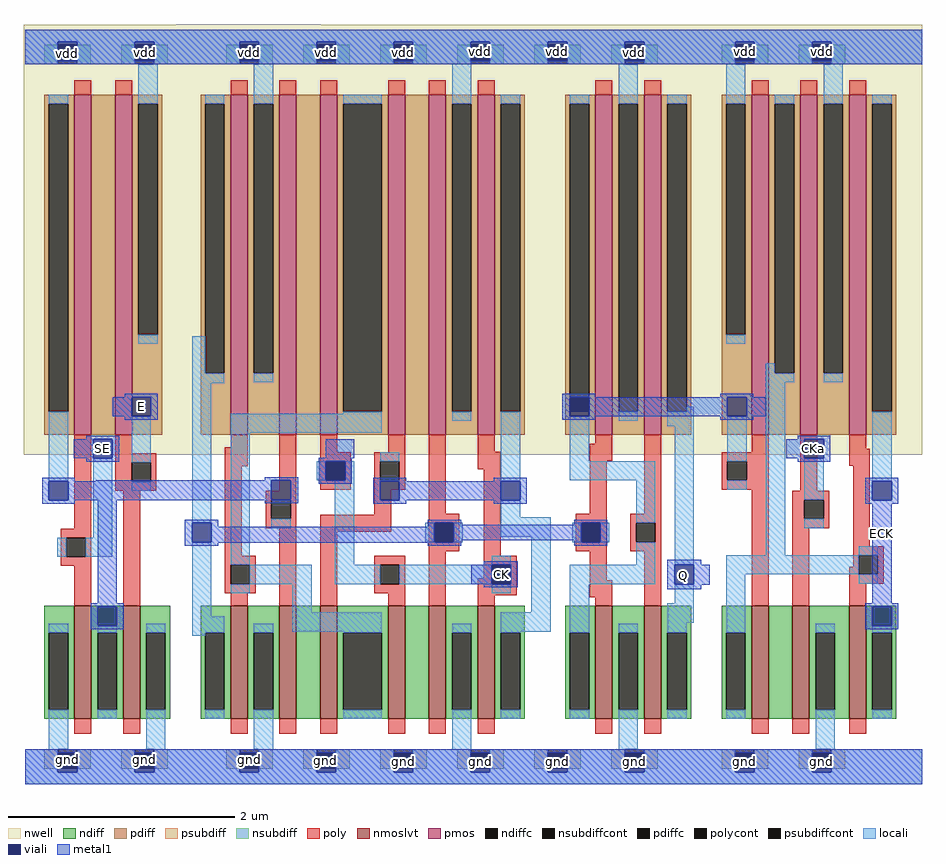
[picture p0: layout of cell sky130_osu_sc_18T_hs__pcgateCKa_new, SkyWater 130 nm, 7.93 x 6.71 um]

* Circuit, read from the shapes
.subckt sky130_osu_sc_18T_hs__pcgateCKa_new SE E CK ECK Q CKa
XM1 n1 SE gnd gnd sky130_fd_pr__nfet_01v8_lvt w=1 l=0.15
XM2 gnd E n1 gnd sky130_fd_pr__nfet_01v8_lvt w=1 l=0.15
XM3 gnd n2 n3 gnd sky130_fd_pr__nfet_01v8_lvt w=1 l=0.15
XM4 n4 n1 gnd gnd sky130_fd_pr__nfet_01v8_lvt w=1 l=0.15
XM5 n2 n5 n4 gnd sky130_fd_pr__nfet_01v8_lvt w=1 l=0.15
XM6 n6 CK n2 gnd sky130_fd_pr__nfet_01v8_lvt w=1 l=0.15
XM7 gnd n3 n6 gnd sky130_fd_pr__nfet_01v8_lvt w=1 l=0.15
XM8 n5 CK gnd gnd sky130_fd_pr__nfet_01v8_lvt w=1 l=0.15
XM9 gnd n3 n7 gnd sky130_fd_pr__nfet_01v8_lvt w=1 l=0.15
XM10 Q n7 gnd gnd sky130_fd_pr__nfet_01v8_lvt w=1 l=0.15
XM11 n8 n7 n9 gnd sky130_fd_pr__nfet_01v8_lvt w=1 l=0.15
XM12 gnd CKa n8 gnd sky130_fd_pr__nfet_01v8_lvt w=1 l=0.15
XM13 ECK n9 gnd gnd sky130_fd_pr__nfet_01v8_lvt w=1 l=0.15
XM14 n10 SE n1 vdd sky130_fd_pr__pfet_01v8 w=3 l=0.15
XM15 vdd E n10 vdd sky130_fd_pr__pfet_01v8 w=3 l=0.15
XM16 vdd n2 n3 vdd sky130_fd_pr__pfet_01v8 w=3 l=0.15
XM17 n11 n1 vdd vdd sky130_fd_pr__pfet_01v8 w=3 l=0.15
XM18 n2 CK n11 vdd sky130_fd_pr__pfet_01v8 w=3 l=0.15
XM19 n12 n5 n2 vdd sky130_fd_pr__pfet_01v8 w=3 l=0.15
XM20 vdd n3 n12 vdd sky130_fd_pr__pfet_01v8 w=3 l=0.15
XM21 n5 CK vdd vdd sky130_fd_pr__pfet_01v8 w=3 l=0.15
XM22 vdd n3 n7 vdd sky130_fd_pr__pfet_01v8 w=3 l=0.15
XM23 Q n7 vdd vdd sky130_fd_pr__pfet_01v8 w=3 l=0.15
XM24 n9 n7 vdd vdd sky130_fd_pr__pfet_01v8 w=3 l=0.15
XM25 vdd CKa n9 vdd sky130_fd_pr__pfet_01v8 w=3 l=0.15
XM26 ECK n9 vdd vdd sky130_fd_pr__pfet_01v8 w=3 l=0.15
.ends

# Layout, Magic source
magic
tech sky130A
magscale 1 2
<< nwell >>
rect 0 1341 255 1342
rect -269 581 1317 1341
<< nmoslvt >>
rect -180 115 -150 315
rect -94 115 -64 315
rect 96 115 126 315
rect 182 115 212 315
rect 254 115 284 315
rect 374 115 404 315
rect 446 115 476 315
rect 532 115 562 315
rect 740 115 770 315
rect 826 115 856 315
rect 1016 115 1046 315
rect 1088 115 1118 315
rect 1188 115 1218 315
<< pmos >>
rect -180 617 -150 1217
rect -108 617 -78 1217
rect 96 617 126 1217
rect 182 617 212 1217
rect 254 617 284 1217
rect 374 617 404 1217
rect 446 617 476 1217
rect 532 617 562 1217
rect 740 617 770 1217
rect 826 617 856 1217
rect 1016 617 1046 1217
rect 1102 617 1132 1217
rect 1188 617 1218 1217
<< ndiff >>
rect -233 267 -180 315
rect -233 131 -225 267
rect -191 131 -180 267
rect -233 115 -180 131
rect -150 267 -94 315
rect -150 131 -139 267
rect -105 131 -94 267
rect -150 115 -94 131
rect -64 267 -11 315
rect -64 131 -53 267
rect -19 131 -11 267
rect -64 115 -11 131
rect 43 267 96 315
rect 43 131 51 267
rect 85 131 96 267
rect 43 115 96 131
rect 126 267 182 315
rect 126 131 137 267
rect 171 131 182 267
rect 126 115 182 131
rect 212 115 254 315
rect 284 267 374 315
rect 284 131 295 267
rect 363 131 374 267
rect 284 115 374 131
rect 404 115 446 315
rect 476 267 532 315
rect 476 131 487 267
rect 521 131 532 267
rect 476 115 532 131
rect 562 267 615 315
rect 562 131 573 267
rect 607 131 615 267
rect 562 115 615 131
rect 687 267 740 315
rect 687 131 695 267
rect 729 131 740 267
rect 687 115 740 131
rect 770 267 826 315
rect 770 131 781 267
rect 815 131 826 267
rect 770 115 826 131
rect 856 267 909 315
rect 856 131 867 267
rect 901 131 909 267
rect 856 115 909 131
rect 963 267 1016 315
rect 963 131 971 267
rect 1005 131 1016 267
rect 963 115 1016 131
rect 1046 115 1088 315
rect 1118 267 1188 315
rect 1118 131 1129 267
rect 1163 131 1188 267
rect 1118 115 1188 131
rect 1218 267 1271 315
rect 1218 131 1229 267
rect 1263 131 1271 267
rect 1218 115 1271 131
<< pdiff >>
rect -233 1201 -180 1217
rect -233 657 -225 1201
rect -191 657 -180 1201
rect -233 617 -180 657
rect -150 617 -108 1217
rect -78 1201 -25 1217
rect -78 793 -67 1201
rect -33 793 -25 1201
rect -78 617 -25 793
rect 43 1201 96 1217
rect 43 725 51 1201
rect 85 725 96 1201
rect 43 617 96 725
rect 126 1201 182 1217
rect 126 725 137 1201
rect 171 725 182 1201
rect 126 617 182 725
rect 212 617 254 1217
rect 284 1201 374 1217
rect 284 657 295 1201
rect 363 657 374 1201
rect 284 617 374 657
rect 404 617 446 1217
rect 476 1201 532 1217
rect 476 657 487 1201
rect 521 657 532 1201
rect 476 617 532 657
rect 562 1201 615 1217
rect 562 657 573 1201
rect 607 657 615 1201
rect 562 617 615 657
rect 687 1201 740 1217
rect 687 657 695 1201
rect 729 657 740 1201
rect 687 617 740 657
rect 770 1201 826 1217
rect 770 657 781 1201
rect 815 657 826 1201
rect 770 617 826 657
rect 856 1201 909 1217
rect 856 657 867 1201
rect 901 657 909 1201
rect 856 617 909 657
rect 963 1201 1016 1217
rect 963 793 971 1201
rect 1005 793 1016 1201
rect 963 617 1016 793
rect 1046 1201 1102 1217
rect 1046 725 1057 1201
rect 1091 725 1102 1201
rect 1046 617 1102 725
rect 1132 1201 1188 1217
rect 1132 725 1143 1201
rect 1177 725 1188 1201
rect 1132 617 1188 725
rect 1218 1201 1271 1217
rect 1218 657 1229 1201
rect 1263 657 1271 1201
rect 1218 617 1271 657
<< ndiffc >>
rect -225 131 -191 267
rect -139 131 -105 267
rect -53 131 -19 267
rect 51 131 85 267
rect 137 131 171 267
rect 295 131 363 267
rect 487 131 521 267
rect 573 131 607 267
rect 695 131 729 267
rect 781 131 815 267
rect 867 131 901 267
rect 971 131 1005 267
rect 1129 131 1163 267
rect 1229 131 1263 267
<< pdiffc >>
rect -225 657 -191 1201
rect -67 793 -33 1201
rect 51 725 85 1201
rect 137 725 171 1201
rect 295 657 363 1201
rect 487 657 521 1201
rect 573 657 607 1201
rect 695 657 729 1201
rect 781 657 815 1201
rect 867 657 901 1201
rect 971 793 1005 1201
rect 1057 725 1091 1201
rect 1143 725 1177 1201
rect 1229 657 1263 1201
<< psubdiff >>
rect -233 27 -209 61
rect -175 27 -151 61
rect -97 27 -73 61
rect -39 27 -15 61
rect 88 27 112 61
rect 146 27 170 61
rect 224 27 248 61
rect 282 27 306 61
rect 360 27 384 61
rect 418 27 442 61
rect 496 27 520 61
rect 554 27 578 61
rect 632 27 656 61
rect 690 27 714 61
rect 768 27 792 61
rect 826 27 850 61
rect 963 27 987 61
rect 1021 27 1045 61
rect 1099 27 1123 61
rect 1157 27 1181 61
<< nsubdiff >>
rect -233 1271 -209 1305
rect -175 1271 -151 1305
rect -97 1271 -73 1305
rect -39 1271 -15 1305
rect 88 1271 112 1305
rect 146 1271 170 1305
rect 224 1271 248 1305
rect 282 1271 306 1305
rect 360 1271 384 1305
rect 418 1271 442 1305
rect 496 1271 520 1305
rect 554 1271 578 1305
rect 632 1271 656 1305
rect 690 1271 714 1305
rect 768 1271 792 1305
rect 826 1271 850 1305
rect 963 1271 987 1305
rect 1021 1271 1045 1305
rect 1099 1271 1123 1305
rect 1157 1271 1181 1305
<< psubdiffcont >>
rect -209 27 -175 61
rect -73 27 -39 61
rect 112 27 146 61
rect 248 27 282 61
rect 384 27 418 61
rect 520 27 554 61
rect 656 27 690 61
rect 792 27 826 61
rect 987 27 1021 61
rect 1123 27 1157 61
<< nsubdiffcont >>
rect -209 1271 -175 1305
rect -73 1271 -39 1305
rect 112 1271 146 1305
rect 248 1271 282 1305
rect 384 1271 418 1305
rect 520 1271 554 1305
rect 656 1271 690 1305
rect 792 1271 826 1305
rect 987 1271 1021 1305
rect 1123 1271 1157 1305
<< poly >>
rect -180 1217 -150 1243
rect -108 1217 -78 1243
rect 96 1217 126 1243
rect 182 1217 212 1243
rect 254 1217 284 1243
rect 374 1217 404 1243
rect 446 1217 476 1243
rect 532 1217 562 1243
rect 740 1217 770 1243
rect 826 1217 856 1243
rect 1016 1217 1046 1243
rect 1102 1217 1132 1243
rect 1188 1217 1218 1243
rect -180 451 -150 617
rect -108 584 -78 617
rect 96 595 126 617
rect -108 568 -35 584
rect -108 534 -79 568
rect -45 534 -35 568
rect -108 518 -35 534
rect 86 561 126 595
rect -204 435 -150 451
rect -204 401 -194 435
rect -160 401 -150 435
rect -204 385 -150 401
rect -180 315 -150 385
rect -94 315 -64 518
rect 86 403 116 561
rect 182 518 212 617
rect 254 586 284 617
rect 374 586 404 617
rect 254 570 308 586
rect 254 536 264 570
rect 298 536 308 570
rect 254 520 308 536
rect 350 570 404 586
rect 350 536 360 570
rect 394 536 404 570
rect 350 520 404 536
rect 158 502 212 518
rect 158 468 168 502
rect 202 468 212 502
rect 350 475 380 520
rect 158 452 212 468
rect 86 387 140 403
rect 86 353 96 387
rect 130 353 140 387
rect 86 337 140 353
rect 96 315 126 337
rect 182 315 212 452
rect 254 445 380 475
rect 446 477 476 617
rect 532 587 562 617
rect 740 601 770 617
rect 532 556 573 587
rect 446 461 500 477
rect 254 315 284 445
rect 446 427 456 461
rect 490 427 500 461
rect 446 411 500 427
rect 350 387 404 403
rect 350 353 360 387
rect 394 353 404 387
rect 350 337 404 353
rect 374 315 404 337
rect 446 315 476 411
rect 543 403 573 556
rect 730 571 770 601
rect 730 477 760 571
rect 826 477 856 617
rect 1016 586 1046 617
rect 963 570 1046 586
rect 963 536 973 570
rect 1007 536 1046 570
rect 963 520 1046 536
rect 705 461 760 477
rect 705 427 715 461
rect 749 427 760 461
rect 705 411 760 427
rect 802 461 856 477
rect 802 427 812 461
rect 846 427 856 461
rect 802 411 856 427
rect 543 387 601 403
rect 543 363 557 387
rect 532 353 557 363
rect 591 353 601 387
rect 532 333 601 353
rect 730 360 760 411
rect 532 315 562 333
rect 730 330 770 360
rect 740 315 770 330
rect 826 315 856 411
rect 1016 315 1046 520
rect 1102 518 1132 617
rect 1188 592 1218 617
rect 1188 562 1225 592
rect 1088 502 1153 518
rect 1088 468 1109 502
rect 1143 468 1153 502
rect 1088 452 1153 468
rect 1088 315 1118 452
rect 1195 420 1225 562
rect 1195 404 1249 420
rect 1195 384 1205 404
rect 1188 370 1205 384
rect 1239 370 1249 404
rect 1188 354 1249 370
rect 1188 315 1218 354
rect -180 89 -150 115
rect -94 89 -64 115
rect 96 89 126 115
rect 182 89 212 115
rect 254 89 284 115
rect 374 89 404 115
rect 446 89 476 115
rect 532 89 562 115
rect 740 89 770 115
rect 826 89 856 115
rect 1016 89 1046 115
rect 1088 89 1118 115
rect 1188 89 1218 115
<< polycont >>
rect -79 534 -45 568
rect -194 401 -160 435
rect 264 536 298 570
rect 360 536 394 570
rect 168 468 202 502
rect 96 353 130 387
rect 456 427 490 461
rect 360 353 394 387
rect 973 536 1007 570
rect 715 427 749 461
rect 812 427 846 461
rect 557 353 591 387
rect 1109 468 1143 502
rect 1205 370 1239 404
<< locali >>
rect -267 1311 1317 1332
rect -267 1271 -209 1311
rect -175 1271 -73 1311
rect -39 1271 112 1311
rect 146 1271 248 1311
rect 282 1271 384 1311
rect 418 1271 520 1311
rect 554 1271 656 1311
rect 690 1271 792 1311
rect 826 1271 987 1311
rect 1021 1271 1123 1311
rect 1157 1271 1317 1311
rect -225 1201 -191 1217
rect -67 1201 -33 1271
rect -67 777 -33 793
rect 51 1201 85 1217
rect 28 725 51 791
rect 28 708 85 725
rect 137 1201 171 1271
rect 137 709 171 725
rect 295 1201 363 1217
rect -225 535 -191 657
rect -147 435 -113 575
rect -79 568 -45 649
rect -79 518 -45 534
rect -210 401 -194 435
rect -160 401 -113 435
rect 28 461 62 708
rect 295 654 363 657
rect -225 267 -191 283
rect -225 61 -191 131
rect 28 296 62 427
rect 96 620 363 654
rect 487 1201 521 1271
rect 487 641 521 657
rect 573 1201 607 1217
rect 96 387 130 620
rect 360 570 394 586
rect 248 536 264 570
rect 298 536 314 570
rect 168 452 202 468
rect 280 387 314 536
rect 360 535 394 536
rect 573 535 607 657
rect 695 1201 729 1217
rect 695 570 729 649
rect 781 1201 815 1271
rect 781 641 815 657
rect 867 1201 901 1217
rect 971 1201 1005 1271
rect 971 777 1005 793
rect 1057 1201 1091 1217
rect 1041 725 1057 743
rect 1041 709 1091 725
rect 1143 1201 1177 1271
rect 1143 709 1177 725
rect 1229 1201 1263 1217
rect 901 657 914 666
rect 867 632 914 657
rect 695 536 846 570
rect 573 471 607 501
rect 440 427 456 461
rect 490 427 506 461
rect 573 437 661 471
rect 812 461 846 536
rect 557 387 591 403
rect 130 353 239 387
rect 280 353 360 387
rect 394 353 557 387
rect 96 337 130 353
rect 205 303 239 353
rect 557 337 591 353
rect 627 303 661 437
rect 699 427 715 461
rect 749 427 765 461
rect 812 387 846 427
rect -139 267 -105 279
rect -139 115 -105 131
rect -53 267 -19 283
rect 28 267 85 296
rect 28 262 51 267
rect -53 61 -19 131
rect 51 115 85 131
rect 137 267 171 283
rect 205 269 363 303
rect 137 61 171 131
rect 295 267 363 269
rect 295 115 363 131
rect 487 267 521 283
rect 487 61 521 131
rect 573 269 661 303
rect 695 353 846 387
rect 880 387 914 632
rect 973 570 1007 649
rect 973 520 1007 536
rect 1041 404 1075 709
rect 1109 502 1143 575
rect 1229 535 1263 657
rect 1109 452 1143 468
rect 1205 404 1239 420
rect 573 267 607 269
rect 573 115 607 131
rect 695 267 729 353
rect 880 319 914 353
rect 867 285 914 319
rect 971 370 1205 404
rect 695 115 729 131
rect 781 267 815 283
rect 781 61 815 131
rect 867 267 901 285
rect 867 115 901 131
rect 971 267 1005 370
rect 1205 354 1239 370
rect 971 115 1005 131
rect 1129 267 1163 283
rect 1129 61 1163 131
rect 1229 267 1263 279
rect 1229 115 1263 131
rect -267 21 -209 61
rect -175 21 -73 61
rect -39 21 112 61
rect 146 21 248 61
rect 282 21 384 61
rect 418 21 520 61
rect 554 21 656 61
rect 690 21 792 61
rect 826 21 987 61
rect 1021 21 1123 61
rect 1157 21 1317 61
rect -267 0 1317 21
<< viali >>
rect -209 1305 -175 1311
rect -209 1277 -175 1305
rect -73 1305 -39 1311
rect -73 1277 -39 1305
rect 112 1305 146 1311
rect 112 1277 146 1305
rect 248 1305 282 1311
rect 248 1277 282 1305
rect 384 1305 418 1311
rect 384 1277 418 1305
rect 520 1305 554 1311
rect 520 1277 554 1305
rect 656 1305 690 1311
rect 656 1277 690 1305
rect 792 1305 826 1311
rect 792 1277 826 1305
rect 987 1305 1021 1311
rect 987 1277 1021 1305
rect 1123 1305 1157 1311
rect 1123 1277 1157 1305
rect -79 649 -45 683
rect -225 501 -191 535
rect -147 575 -113 609
rect 28 427 62 461
rect -139 279 -105 313
rect 264 536 298 570
rect 168 502 202 536
rect 360 501 394 535
rect 695 657 729 683
rect 695 649 729 657
rect 573 501 607 535
rect 456 427 490 461
rect 557 353 591 387
rect 715 427 749 461
rect 973 649 1007 683
rect 1109 575 1143 609
rect 1229 501 1263 535
rect 880 353 914 387
rect 1229 279 1263 313
rect -209 27 -175 55
rect -209 21 -175 27
rect -73 27 -39 55
rect -73 21 -39 27
rect 112 27 146 55
rect 112 21 146 27
rect 248 27 282 55
rect 248 21 282 27
rect 384 27 418 55
rect 384 21 418 27
rect 520 27 554 55
rect 520 21 554 27
rect 656 27 690 55
rect 656 21 690 27
rect 792 27 826 55
rect 792 21 826 27
rect 987 27 1021 55
rect 987 21 1021 27
rect 1123 27 1157 55
rect 1123 21 1157 27
<< metal1 >>
rect -267 1311 1317 1332
rect -267 1277 -209 1311
rect -175 1277 -73 1311
rect -39 1277 112 1311
rect 146 1277 248 1311
rect 282 1277 384 1311
rect 418 1277 520 1311
rect 554 1277 656 1311
rect 690 1277 792 1311
rect 826 1277 987 1311
rect 1021 1277 1123 1311
rect 1157 1277 1317 1311
rect -267 1271 1317 1277
rect -91 683 -33 689
rect -112 649 -79 683
rect -45 649 -33 683
rect -91 643 -33 649
rect 682 683 740 689
rect 961 683 1019 689
rect 682 649 695 683
rect 729 649 973 683
rect 1007 649 1041 683
rect 682 643 740 649
rect 961 643 1019 649
rect -159 609 -101 615
rect 1097 609 1155 615
rect -181 575 -147 609
rect -113 575 -101 609
rect 264 576 314 609
rect -159 569 -101 575
rect 252 575 314 576
rect 1077 575 1109 609
rect 1143 575 1155 609
rect 252 570 310 575
rect -237 535 -179 541
rect 156 536 215 542
rect -142 535 168 536
rect -237 501 -225 535
rect -191 502 168 535
rect 202 502 215 536
rect 252 536 264 570
rect 298 536 310 570
rect 1097 569 1155 575
rect 252 530 310 536
rect 348 535 406 541
rect 561 535 619 541
rect -191 501 215 502
rect -237 495 -179 501
rect -139 319 -105 501
rect 156 496 215 501
rect 348 501 360 535
rect 394 501 573 535
rect 607 501 619 535
rect 348 495 406 501
rect 561 495 619 501
rect 1217 535 1275 541
rect 1217 501 1229 535
rect 1263 501 1275 535
rect 1217 495 1275 501
rect 15 461 74 467
rect 15 427 28 461
rect 62 454 74 461
rect 444 461 503 467
rect 444 454 456 461
rect 62 427 456 454
rect 490 458 503 461
rect 703 461 761 467
rect 703 458 715 461
rect 490 430 715 458
rect 490 427 503 430
rect 15 426 503 427
rect 15 421 74 426
rect 444 421 503 426
rect 703 427 715 430
rect 749 427 761 461
rect 703 421 761 427
rect 543 387 603 393
rect 521 353 557 387
rect 591 353 603 387
rect 543 347 603 353
rect 867 387 927 396
rect 867 353 880 387
rect 914 353 942 387
rect 867 352 942 353
rect 867 344 927 352
rect 1229 319 1263 495
rect -151 313 -93 319
rect -151 279 -139 313
rect -105 279 -93 313
rect -151 273 -93 279
rect 1217 313 1275 319
rect 1217 279 1229 313
rect 1263 279 1275 313
rect 1217 273 1275 279
rect -267 55 1317 61
rect -267 21 -209 55
rect -175 21 -73 55
rect -39 21 112 55
rect 146 21 248 55
rect 282 21 384 55
rect 418 21 520 55
rect 554 21 656 55
rect 690 21 792 55
rect 826 21 987 55
rect 1021 21 1123 55
rect 1157 21 1317 55
rect -267 0 1317 21
<< labels >>
rlabel metal1 -131 592 -131 592 1 SE
port 1 n
rlabel metal1 -62 667 -62 667 1 E
port 2 n
rlabel metal1 574 370 574 370 1 CK
port 3 n
rlabel metal1 1245 443 1245 443 1 ECK
port 4 n
rlabel metal1 -192 44 -192 44 1 gnd
rlabel metal1 -56 44 -56 44 1 gnd
rlabel metal1 129 44 129 44 1 gnd
rlabel metal1 264 42 264 42 1 gnd
rlabel metal1 401 39 401 39 1 gnd
rlabel metal1 537 39 537 39 1 gnd
rlabel metal1 673 40 673 40 1 gnd
rlabel metal1 809 40 809 40 1 gnd
rlabel metal1 1004 40 1004 40 1 gnd
rlabel metal1 1140 40 1140 40 1 gnd
rlabel metal1 -192 1290 -192 1290 1 vdd
rlabel metal1 -55 1291 -55 1291 1 vdd
rlabel metal1 129 1292 129 1292 1 vdd
rlabel metal1 265 1292 265 1292 1 vdd
rlabel metal1 401 1292 401 1292 1 vdd
rlabel metal1 538 1294 538 1294 1 vdd
rlabel metal1 673 1293 673 1293 1 vdd
rlabel metal1 809 1292 809 1292 1 vdd
rlabel metal1 1005 1293 1005 1293 1 vdd
rlabel metal1 1141 1293 1141 1293 1 vdd
rlabel metal1 895 366 895 370 1 Q
port 5 n
rlabel metal1 1126 593 1126 593 1 CKa
port 6 n
<< end >>
